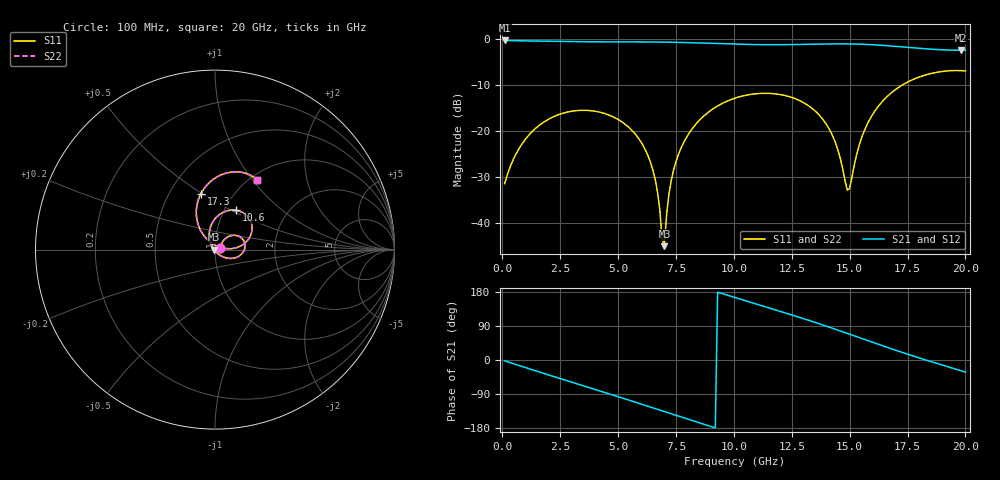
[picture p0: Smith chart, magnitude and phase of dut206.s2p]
! Touchstone file exported from HFSS 2026.1.0
!  File:  C:/ffzhzh/LocalFiles/Ansys_Project_Files/temp_train_TSV_RDL_206_1783061014_46780.aedt
!  Generated:  02:54:14 PM Jul  3, 2026
!  Design:  TSV_RDL
!  Project:  temp_train_TSV_RDL_206_1783061014_46780
! Variables:
!  h_bsmrdl = 4.18um
!  h_ox = 20um
!  h_rdl = 5um
!  h_sub = 92.42um
!  h_tmrdl = 5.64um
!  h_tsv = 92.42um
!  h_via = 3um
!  l_bsmrdl = 709.64um
!  l_sub = 5481.78um
!  l_tmrdl = 710.54um
!  m_sub = 200um
!  pitch = 32.46um
!  r_tsv = 14.38um
!  s_tmrdl = 10um
!  w_bsmrdl = 26.59um
!  w_sub = 500um
!  w_tmrdl = 10.31um
!  x_tsv_center1 = 715.695um
!  x_tsv_center2 = 1451.925um
!  x_tsv_center3 = 2172.775um
!  x_tsv_center4 = 2909.005um
!  x_tsv_center5 = 3629.855um
!  x_tsv_center6 = 4366.085um
# GHz S MA R 50.000000
! Terminal data exported
! Port[1] = TM_RDL1_1_T1
! Port[2] = TM_RDL5_1_T1
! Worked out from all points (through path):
!   200 points, 100 MHz to 20 GHz, reference 50 ohm
!   highest |S21| = -0.22 dB at 100 MHz (marker M1); lowest = -2.4 dB at 19.8 GHz (marker M2)
!   group delay of S21, straight-line fit = 54.4 ps
!   lowest |S11| = -45.0 dB at 7 GHz (marker M3), VSWR 1.01, Z = 49.4 - j0.00628 ohm
!   |S11| at or under -10 dB: start of sweep to 17.25 GHz
!   |S22| runs from -44.9 to -6.8 dB; largest |S21 - S12| = 1.6e-14
!   S11 on the Smith chart (normalised r, x): 100 MHz: 1.05, +0.02; 10.6 GHz: 1.14, +0.53; 17.3 GHz: 0.71, +0.50; 20 GHz: 1.07, +1.05
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0.1  0.02694 19.5  0.9749 -2.1  0.9749 -2.1  0.02694 19.5
! Gamma 0 0 0 0
! Port Impedance 50 0 50 0
1.4  0.1056 43.9  0.9607 -27.8  0.9607 -27.8  0.1056 43.9
3.5  0.1695 10.9  0.9436 -68.1  0.9436 -68.1  0.1695 10.9
5.8  0.08946 -32.8  0.9408 -112.3  0.9408 -112.3  0.08948 -32.9
6.4  0.04605 -47.0  0.9393 -124.1  0.9393 -124.1  0.04607 -47.1
6.8  0.01423 -67.5  0.9371 -132.0  0.9371 -132.0  0.01428 -68.0
6.9  0.00683 -92.4  0.9364 -134.0  0.9364 -134.0  0.006916 -93.1
7  0.005626 -179.4  0.9356 -136.0  0.9356 -136.0  0.005716 -178.6
7.1  0.01272 146.1  0.9347 -138.0  0.9347 -138.0  0.01276 146.6
7.3  0.02949 130.2  0.9328 -141.9  0.9328 -141.9  0.0295 130.5
7.8  0.07268 115.4  0.9267 -151.8  0.9267 -151.8  0.07268 115.5
8.7  0.1466 96.6  0.9122 -169.4  0.9122 -169.4  0.1466 96.7
10.1  0.2318 70.3  0.8885 163.9  0.8885 163.9  0.2318 70.4
10.6  0.2491 61.4  0.8823 154.6  0.8823 154.6  0.2491 61.4
13.4  0.1759 13.3  0.8877 101.4  0.8877 101.4  0.176 13.2
14.3  0.08542 3.5  0.8944 83.0  0.8944 83.0  0.08545 3.4
14.9  0.02289 52.7  0.8938 70.3  0.8938 70.3  0.02277 52.4
15.7  0.1108 128.2  0.8827 53.0  0.8827 53.0  0.1107 128.2
16.7  0.2495 114.5  0.8518 31.7  0.8518 31.7  0.2494 114.5
17.3  0.3219 104.0  0.8279 19.4  0.8279 19.4  0.3218 104.0
19.8  0.4579 62.2  0.7629 -28.0  0.7629 -28.0  0.4579 62.2
20  0.4543 59.0  0.7636 -31.8  0.7636 -31.8  0.4542 59.0
